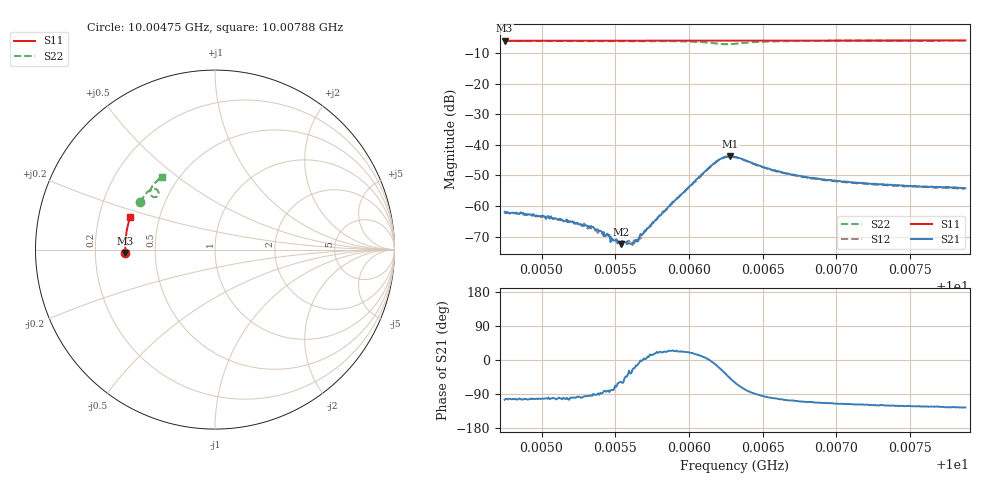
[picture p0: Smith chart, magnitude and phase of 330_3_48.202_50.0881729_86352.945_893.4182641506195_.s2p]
#  HZ  S  RI  R  50.00
! Rohde & Schwarz Vector Network Analyzer
! Rohde-Schwarz,ZNB20-2Port,1311601062101988,3.16
! Created: UTC 3/20/2024, 11:50:52 AM
! freq[Hz]  re:S11  im:S11  re:S21  im:S21  re:S12  im:S12  re:S22  im:S22
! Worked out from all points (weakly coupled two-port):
!   401 points, 10.00475 GHz to 10.00788 GHz, reference 50 ohm
!   highest |S21| = -43.72 dB at 10.00628 GHz (marker M1); lowest = -72.4 dB at 10.00554 GHz (marker M2)
!   lowest |S11| = -6.0 dB at 10.00475 GHz (marker M3), VSWR 2.99, Z = 16.7 - j0.819 ohm
!   |S11| at or under -10 dB: nowhere
!   |S22| runs from -7.2 to -6.0 dB; largest |S21 - S12| = 0.00039
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1.000475e10  -0.4987 -0.0184  -0.000206 -0.000774  -0.000139 -0.000773  -0.4177 0.263
1.0004937e10  -0.4995 -0.00614  -0.000159 -0.000669  -0.000152 -0.000703  -0.4112 0.2742
1.0005054e10  -0.4997 0.00136  -0.000146 -0.000613  -0.000114 -0.00061  -0.4068 0.2812
1.0005273e10  -0.5 0.0157  -7.98e-05 -0.000465  -3.33e-05 -0.000494  -0.3982 0.2942
1.0005351e10  -0.5 0.0207  4.21e-06 -0.000453  -1.87e-05 -0.00041  -0.3949 0.2989
1.0005445e10  -0.4999 0.0267  4.8e-05 -0.00035  3.02e-05 -0.000306  -0.3907 0.3045
1.0005484e10  -0.4996 0.0293  4.94e-05 -0.000269  9.1e-05 -0.000259  -0.3888 0.307
1.0005539e10  -0.4997 0.033  0.000128 -0.000201  0.000146 -0.000204  -0.3861 0.3103
1.0005609e10  -0.4995 0.0374  0.0002 -0.00014  0.000213 -0.000128  -0.3825 0.3147
1.000564e10  -0.4994 0.0394  0.000271 -6.94e-05  0.000267 -5.02e-05  -0.3807 0.3167
1.0005672e10  -0.4993 0.0415  0.00035 -8.15e-06  0.000292 -1.16e-05  -0.3787 0.3187
1.0005742e10  -0.499 0.0461  0.000471 0.000112  0.000458 0.000116  -0.3741 0.3232
1.0005797e10  -0.4987 0.0497  0.000636 0.000245  0.000622 0.000258  -0.3703 0.3265
1.0006164e10  -0.4962 0.0732  0.0048 -0.000574  0.00473 -0.0004  -0.3177 0.3276
1.0006226e10  -0.4956 0.077  0.00537 -0.00289  0.00538 -0.00255  -0.3149 0.3076
1.0006281e10  -0.4951 0.0802  0.00426 -0.00493  0.00443 -0.00458  -0.3279 0.2935
1.0006312e10  -0.4949 0.0821  0.00318 -0.00549  0.00337 -0.00523  -0.338 0.2919
1.0006586e10  -0.4927 0.0996  -0.000736 -0.00375  -0.000575 -0.00365  -0.3598 0.331
1.0006836e10  -0.4898 0.1157  -0.00103 -0.00269  -0.000918 -0.00265  -0.3489 0.3528
1.0007031e10  -0.4872 0.128  -0.00109 -0.00226  -0.00097 -0.00228  -0.3395 0.3652
1.000736e10  -0.4819 0.1486  -0.00112 -0.00193  -0.000978 -0.00192  -0.3232 0.3829
1.0007875e10  -0.4722 0.1802  -0.00113 -0.00159  -0.00105 -0.00162  -0.2971 0.4065
